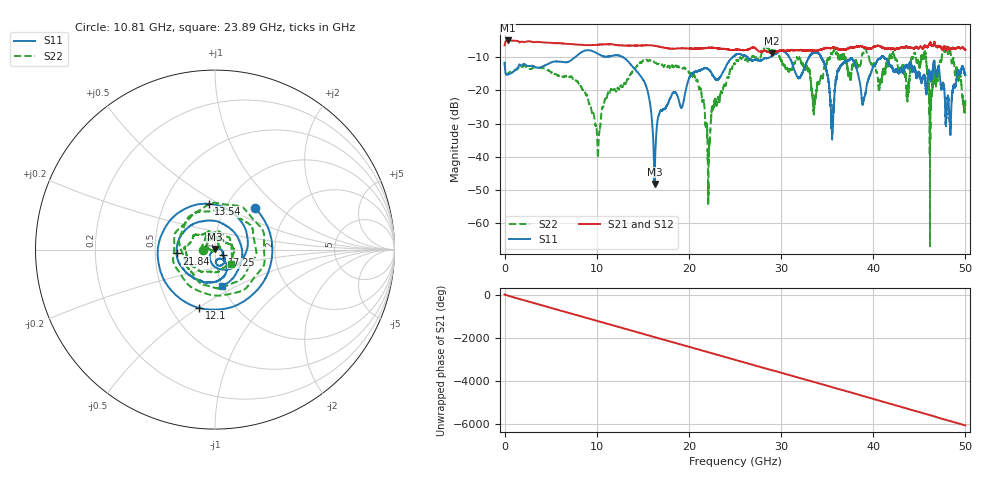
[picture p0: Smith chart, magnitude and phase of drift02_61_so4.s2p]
!Created with skrf (http://scikit-rf.org).
# Hz S RI R 50.0
!freq ReS11 ImS11 ReS21 ImS21 ReS12 ImS12 ReS22 ImS22
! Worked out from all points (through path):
!   10001 points, 300 kHz to 50 GHz, reference 50 ohm
!   highest |S21| = -5.04 dB at 325.3 MHz (marker M1); lowest = -8.9 dB at 28.98 GHz (marker M2)
!   group delay of S21, straight-line fit = 336 ps
!   lowest |S11| = -48.2 dB at 16.27 GHz (marker M3), VSWR 1.01, Z = 49.9 + j0.365 ohm
!   |S11| at or under -10 dB: start of sweep to 7.669 GHz; 12.82 GHz to 24.77 GHz (11.95 GHz wide, 63.6 % of centre); 41.13 GHz to end of sweep (the widest 3 of 11)
!   |S22| runs from -66.9 to -6.6 dB; largest |S21 - S12| = 0.029
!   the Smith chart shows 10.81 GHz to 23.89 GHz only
!   S11 on the Smith chart (normalised r, x): 10.81 GHz: 1.37, +0.70; 12.1 GHz: 0.69, -0.50; 13.54 GHz: 0.82, +0.45; 17.25 GHz: 1.09, -0.07; 21.84 GHz: 0.65, -0.03; 23.89 GHz: 0.99, -0.42
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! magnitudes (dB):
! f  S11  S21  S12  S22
! 300 kHz  -11.7  -6.5  -6.5  -11.6
! 325.3 MHz  -15.3  -5.0  -5.0  -15.1
! 8.335 GHz  -8.6  -6.4  -6.4  -19.1
! 10.11 GHz  -9.0  -6.3  -6.3  -39.0
! 10.81 GHz  -9.9  -6.2  -6.2  -23.7
! 12.1 GHz  -9.5  -6.4  -6.4  -20.4
! 13.54 GHz  -11.8  -6.6  -6.6  -15.9
! 16.27 GHz  -48.2  -6.6  -6.6  -11.7
! 16.67 GHz  -27.9  -6.8  -6.8  -12.1
! 17.25 GHz  -25.6  -7.2  -7.2  -12.8
! 21.84 GHz  -13.3  -7.4  -7.3  -30.3
! 23.89 GHz  -13.6  -7.6  -7.6  -18.4
! 25 GHz  -9.5  -7.8  -7.8  -12.0
! 28.98 GHz  -9.8  -8.9  -8.8  -8.0
! 33.34 GHz  -9.1  -8.0  -8.0  -20.0
! 35.55 GHz  -32.0  -7.2  -7.3  -9.1
! 36.79 GHz  -11.7  -7.9  -8.0  -9.0
! 41.67 GHz  -11.8  -7.4  -7.5  -11.9
! 45.49 GHz  -15.6  -7.1  -7.0  -9.6
! 46.26 GHz  -17.3  -6.1  -6.2  -22.8
! 48.12 GHz  -21.9  -7.1  -7.1  -9.0
! 50 GHz  -15.5  -7.9  -7.9  -23.0
